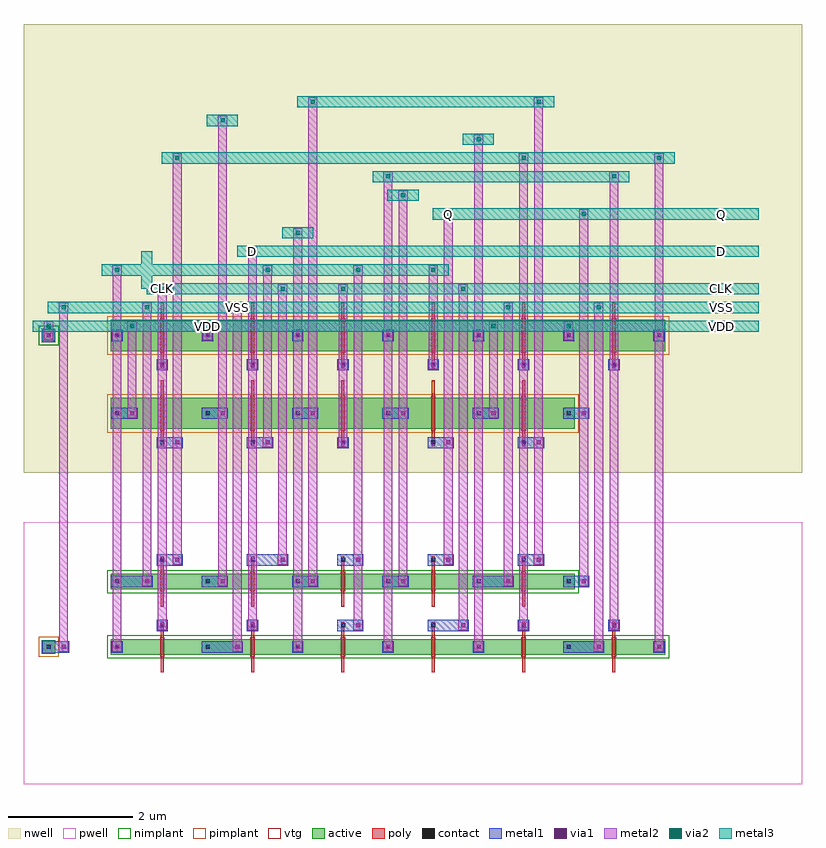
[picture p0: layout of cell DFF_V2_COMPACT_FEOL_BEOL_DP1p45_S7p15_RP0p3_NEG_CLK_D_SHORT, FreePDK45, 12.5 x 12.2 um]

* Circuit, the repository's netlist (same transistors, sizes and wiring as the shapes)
* cell DFF_V2_COMPACT_FEOL_BEOL_DP1p45_S7p15_RP0p3_NEG_CLK_D_SHORT
* pin CLK
* pin D
* pin Q
* pin VDD
* pin VSS
.SUBCKT DFF_V2_COMPACT_FEOL_BEOL_DP1p45_S7p15_RP0p3_NEG_CLK_D_SHORT 1 3 10 11 12
* net 1 CLK
* net 3 D
* net 10 Q
* net 11 VDD
* net 12 VSS
* device instance $1 r0 *1 1.925,7 PMOS_VTG
M$1 11 1 1 11 PMOS_VTG L=0.05U W=0.5U AS=0.4P AD=0.35P PS=2.6U PD=1.9U
* device instance $2 r0 *1 3.375,7 PMOS_VTG
M$2 4 3 11 11 PMOS_VTG L=0.05U W=0.5U AS=0.35P AD=0.35P PS=1.9U PD=1.9U
* device instance $3 r0 *1 4.825,7 PMOS_VTG
M$3 5 1 4 11 PMOS_VTG L=0.05U W=0.5U AS=0.35P AD=0.35P PS=1.9U PD=1.9U
* device instance $4 r0 *1 6.275,7 PMOS_VTG
M$4 2 1 5 11 PMOS_VTG L=0.05U W=0.5U AS=0.35P AD=0.35P PS=1.9U PD=1.9U
* device instance $5 r0 *1 7.725,7 PMOS_VTG
M$5 11 9 2 11 PMOS_VTG L=0.05U W=0.5U AS=0.35P AD=0.35P PS=1.9U PD=1.9U
* device instance $6 r0 *1 9.175,7 PMOS_VTG
M$6 9 5 11 11 PMOS_VTG L=0.05U W=0.5U AS=0.35P AD=0.4P PS=1.9U PD=2.6U
* device instance $7 r0 *1 1.925,5.75 PMOS_VTG
M$7 6 9 11 11 PMOS_VTG L=0.05U W=0.5U AS=0.4P AD=0.35P PS=2.6U PD=1.9U
* device instance $8 r0 *1 3.375,5.75 PMOS_VTG
M$8 7 1 6 11 PMOS_VTG L=0.05U W=0.5U AS=0.35P AD=0.35P PS=1.9U PD=1.9U
* device instance $9 r0 *1 4.825,5.75 PMOS_VTG
M$9 8 1 7 11 PMOS_VTG L=0.05U W=0.5U AS=0.35P AD=0.35P PS=1.9U PD=1.9U
* device instance $10 r0 *1 6.275,5.75 PMOS_VTG
M$10 11 10 8 11 PMOS_VTG L=0.05U W=0.5U AS=0.35P AD=0.35P PS=1.9U PD=1.9U
* device instance $11 r0 *1 7.725,5.75 PMOS_VTG
M$11 10 7 11 11 PMOS_VTG L=0.05U W=0.5U AS=0.35P AD=0.4P PS=1.9U PD=2.6U
* device instance $12 r0 *1 1.925,2 NMOS_VTG
M$12 12 1 1 12 NMOS_VTG L=0.05U W=0.25U AS=0.2P AD=0.175P PS=2.1U PD=1.65U
* device instance $13 r0 *1 3.375,2 NMOS_VTG
M$13 4 3 12 12 NMOS_VTG L=0.05U W=0.25U AS=0.175P AD=0.175P PS=1.65U PD=1.65U
* device instance $14 r0 *1 4.825,2 NMOS_VTG
M$14 5 1 4 12 NMOS_VTG L=0.05U W=0.25U AS=0.175P AD=0.175P PS=1.65U PD=1.65U
* device instance $15 r0 *1 6.275,2 NMOS_VTG
M$15 2 1 5 12 NMOS_VTG L=0.05U W=0.25U AS=0.175P AD=0.175P PS=1.65U PD=1.65U
* device instance $16 r0 *1 7.725,2 NMOS_VTG
M$16 12 9 2 12 NMOS_VTG L=0.05U W=0.25U AS=0.175P AD=0.175P PS=1.65U PD=1.65U
* device instance $17 r0 *1 9.175,2 NMOS_VTG
M$17 9 5 12 12 NMOS_VTG L=0.05U W=0.25U AS=0.175P AD=0.2P PS=1.65U PD=2.1U
* device instance $18 r0 *1 1.925,3.05 NMOS_VTG
M$18 6 9 12 12 NMOS_VTG L=0.05U W=0.25U AS=0.2P AD=0.175P PS=2.1U PD=1.65U
* device instance $19 r0 *1 3.375,3.05 NMOS_VTG
M$19 7 1 6 12 NMOS_VTG L=0.05U W=0.25U AS=0.175P AD=0.175P PS=1.65U PD=1.65U
* device instance $20 r0 *1 4.825,3.05 NMOS_VTG
M$20 8 1 7 12 NMOS_VTG L=0.05U W=0.25U AS=0.175P AD=0.175P PS=1.65U PD=1.65U
* device instance $21 r0 *1 6.275,3.05 NMOS_VTG
M$21 12 10 8 12 NMOS_VTG L=0.05U W=0.25U AS=0.175P AD=0.175P PS=1.65U PD=1.65U
* device instance $22 r0 *1 7.725,3.05 NMOS_VTG
M$22 10 7 12 12 NMOS_VTG L=0.05U W=0.25U AS=0.175P AD=0.2P PS=1.65U PD=2.1U
.ENDS DFF_V2_COMPACT_FEOL_BEOL_DP1p45_S7p15_RP0p3_NEG_CLK_D_SHORT

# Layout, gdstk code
import gdstk
lib = gdstk.Library(unit=1e-6, precision=5e-10)
def R(c, l, rs):  # rectangles x0, y0, x1, y1
    for r in rs: c.add(gdstk.rectangle(r[:2], r[2:], *l))
def A(c, l, x, y, w, h, nx, ny, dx, dy):  # array of equal rectangles
    R(c, l, [(x+i*dx, y+j*dy, x+i*dx+w, y+j*dy+h) for i in range(nx) for j in range(ny)])
active = (1, 0)
pwell = (2, 0)
nwell = (3, 0)
nimplant = (4, 0)
pimplant = (5, 0)
vtg = (6, 0)
poly = (9, 0)
contact = (10, 0)
metal1 = (11, 0)
via1 = (12, 0)
metal2 = (13, 0)
via2 = (14, 0)
metal3 = (15, 0)

dff_v2_compact_feol_beol = lib.new_cell('DFF_V2_COMPACT_FEOL_BEOL_DP1p45_S7p15_RP0p3_NEG_CLK_D_SHORT')
R(dff_v2_compact_feol_beol, active, [(1.1,1.875,10,2.125), (-0.01,1.89,0.21,2.11), (1.1,2.925,8.55,3.175), (1.1,5.5,8.55,6), (1.1,6.75,10,7.25), (-0.01,6.89,0.21,7.11)])
R(dff_v2_compact_feol_beol, pwell, [(-0.3,-0.2,12.2,4)])
R(dff_v2_compact_feol_beol, nwell, [(-0.3,4.8,12.2,12)])
R(dff_v2_compact_feol_beol, nimplant, [(1.04,1.815,10.06,2.185), (1.04,2.865,8.61,3.235), (-0.06,6.84,0.26,7.16)])
R(dff_v2_compact_feol_beol, pimplant, [(-0.06,1.84,0.26,2.16), (1.04,5.44,8.61,6.06), (1.04,6.69,10.06,7.31)])
A(dff_v2_compact_feol_beol, vtg, 1.89, 1.845, 0.07, 0.31, 6, 1, 1.45, 0)
A(dff_v2_compact_feol_beol, vtg, 1.89, 2.895, 0.07, 0.31, 5, 1, 1.45, 0)
A(dff_v2_compact_feol_beol, vtg, 1.89, 5.47, 0.07, 0.56, 5, 1, 1.45, 0)
A(dff_v2_compact_feol_beol, vtg, 1.89, 6.72, 0.07, 0.56, 6, 1, 1.45, 0)
A(dff_v2_compact_feol_beol, poly, 1.9, 1.595, 0.05, 0.81, 6, 1, 1.45, 0)
A(dff_v2_compact_feol_beol, poly, 1.9, 2.645, 0.05, 0.81, 5, 1, 1.45, 0)
A(dff_v2_compact_feol_beol, poly, 1.9, 5.22, 0.05, 1.06, 5, 1, 1.45, 0)
A(dff_v2_compact_feol_beol, poly, 1.9, 6.47, 0.05, 1.06, 6, 1, 1.45, 0)
A(dff_v2_compact_feol_beol, contact, 1.17, 1.97, 0.065, 0.065, 7, 2, 1.45, 5)
A(dff_v2_compact_feol_beol, contact, 1.895, 2.315, 0.065, 0.065, 6, 2, 1.45, 4.185)
A(dff_v2_compact_feol_beol, contact, 1.17, 3.02, 0.065, 0.065, 6, 2, 1.45, 2.7)
A(dff_v2_compact_feol_beol, contact, 1.895, 3.365, 0.065, 0.065, 5, 2, 1.45, 1.885)
R(dff_v2_compact_feol_beol, contact, [(0.07,1.97,0.135,2.035), (0.07,6.97,0.135,7.035)])
A(dff_v2_compact_feol_beol, metal1, 2.65, 2.96, 0.24, 0.18, 3, 1, 1.45, 0)
A(dff_v2_compact_feol_beol, metal1, 4.825, 3.305, 0.24, 0.18, 3, 1, 1.45, 0)
A(dff_v2_compact_feol_beol, metal1, 1.2, 5.66, 0.24, 0.18, 6, 1, 1.45, 0)
R(dff_v2_compact_feol_beol, metal1, [(0,1.9,0.2,2.1), (0.1,1.91,0.34,2.09), (0.25,1.91,0.43,2.09), (1.11,1.91,1.29,2.09), (1.11,1.91,1.29,2.09), (2.56,1.91,2.74,2.09), (2.65,1.91,3.13,2.09), (3.04,1.91,3.22,2.09), (4.01,1.91,4.19,2.09), (4.01,1.91,4.19,2.09), (5.46,1.91,5.64,2.09), (5.46,1.91,5.64,2.09), (6.91,1.91,7.09,2.09), (6.91,1.91,7.09,2.09), (8.36,1.91,8.54,2.09), (8.45,1.91,8.93,2.09), (8.84,1.91,9.02,2.09), (9.81,1.91,9.99,2.09), (9.81,1.91,9.99,2.09), (1.835,2.255,2.015,2.435), (1.835,2.255,2.015,2.435), (3.285,2.255,3.465,2.435), (3.285,2.255,3.465,2.435), (4.735,2.255,4.915,2.435), (4.825,2.255,5.065,2.435), (4.975,2.255,5.155,2.435), (6.185,2.255,6.365,2.435), (6.275,2.255,6.755,2.435), (6.665,2.255,6.845,2.435), (7.635,2.255,7.815,2.435), (7.635,2.255,7.815,2.435), (9.085,2.255,9.265,2.435), (9.085,2.255,9.265,2.435), (1.11,2.96,1.29,3.14), (1.2,2.96,1.68,3.14), (1.59,2.96,1.77,3.14), (2.56,2.96,2.74,3.14), (2.8,2.96,2.98,3.14), (4.01,2.96,4.19,3.14), (4.25,2.96,4.43,3.14), (5.46,2.96,5.64,3.14), (5.7,2.96,5.88,3.14), (6.91,2.96,7.09,3.14), (7,2.96,7.48,3.14), (7.39,2.96,7.57,3.14), (8.36,2.96,8.54,3.14), (8.45,2.96,8.69,3.14), (8.6,2.96,8.78,3.14), (1.835,3.305,2.015,3.485), (1.925,3.305,2.165,3.485), (2.075,3.305,2.255,3.485), (3.285,3.305,3.465,3.485), (3.375,3.305,3.855,3.485), (3.765,3.305,3.945,3.485), (4.735,3.305,4.915,3.485), (4.975,3.305,5.155,3.485), (6.185,3.305,6.365,3.485), (6.425,3.305,6.605,3.485), (7.635,3.305,7.815,3.485), (7.875,3.305,8.055,3.485), (1.835,5.19,2.015,5.37), (1.925,5.19,2.165,5.37), (2.075,5.19,2.255,5.37), (3.285,5.19,3.465,5.37), (3.375,5.19,3.615,5.37), (3.525,5.19,3.705,5.37), (4.735,5.19,4.915,5.37), (4.735,5.19,4.915,5.37), (6.185,5.19,6.365,5.37), (6.275,5.19,6.515,5.37), (6.425,5.19,6.605,5.37), (7.635,5.19,7.815,5.37), (7.725,5.19,7.965,5.37), (7.875,5.19,8.055,5.37), (1.11,5.66,1.29,5.84), (1.35,5.66,1.53,5.84), (2.56,5.66,2.74,5.84), (2.8,5.66,2.98,5.84), (4.01,5.66,4.19,5.84), (4.25,5.66,4.43,5.84), (5.46,5.66,5.64,5.84), (5.7,5.66,5.88,5.84), (6.91,5.66,7.09,5.84), (7.15,5.66,7.33,5.84), (8.36,5.66,8.54,5.84), (8.6,5.66,8.78,5.84), (1.835,6.44,2.015,6.62), (1.835,6.44,2.015,6.62), (3.285,6.44,3.465,6.62), (3.285,6.44,3.465,6.62), (4.735,6.44,4.915,6.62), (4.735,6.44,4.915,6.62), (6.185,6.44,6.365,6.62), (6.185,6.44,6.365,6.62), (7.635,6.44,7.815,6.62), (7.635,6.44,7.815,6.62), (9.085,6.44,9.265,6.62), (9.085,6.44,9.265,6.62), (0,6.9,0.2,7.1), (0.01,6.91,0.19,7.09), (1.11,6.91,1.29,7.09), (1.11,6.91,1.29,7.09), (2.56,6.91,2.74,7.09), (2.56,6.91,2.74,7.09), (4.01,6.91,4.19,7.09), (4.01,6.91,4.19,7.09), (5.46,6.91,5.64,7.09), (5.46,6.91,5.64,7.09), (6.91,6.91,7.09,7.09), (6.91,6.91,7.09,7.09), (8.36,6.91,8.54,7.09), (8.36,6.91,8.54,7.09), (9.81,6.91,9.99,7.09), (9.81,6.91,9.99,7.09)])
A(dff_v2_compact_feol_beol, via1, 4.07, 1.97, 0.065, 0.065, 3, 1, 1.45, 0)
A(dff_v2_compact_feol_beol, via1, 3.345, 2.315, 0.065, 0.065, 3, 1, 1.69, 0)
A(dff_v2_compact_feol_beol, via1, 2.86, 3.02, 0.065, 0.065, 3, 1, 1.45, 0)
A(dff_v2_compact_feol_beol, via1, 5.035, 3.365, 0.065, 0.065, 3, 1, 1.45, 0)
A(dff_v2_compact_feol_beol, via1, 1.41, 5.72, 0.065, 0.065, 6, 1, 1.45, 0)
A(dff_v2_compact_feol_beol, via1, 1.895, 6.5, 0.065, 0.065, 6, 1, 1.45, 0)
A(dff_v2_compact_feol_beol, via1, 1.17, 6.97, 0.065, 0.065, 7, 1, 1.45, 0)
R(dff_v2_compact_feol_beol, via1, [(0.31,1.97,0.375,2.035), (1.17,1.97,1.235,2.035), (3.1,1.97,3.165,2.035), (8.9,1.97,8.965,2.035), (9.87,1.97,9.935,2.035), (1.895,2.315,1.96,2.38), (7.695,2.315,7.76,2.38), (9.145,2.315,9.21,2.38), (1.65,3.02,1.715,3.085), (7.45,3.02,7.515,3.085), (8.66,3.02,8.725,3.085), (2.135,3.365,2.2,3.43), (3.825,3.365,3.89,3.43), (2.135,5.25,2.2,5.315), (3.585,5.25,3.65,5.315), (4.795,5.25,4.86,5.315), (6.485,5.25,6.55,5.315), (7.935,5.25,8,5.315), (0.07,6.97,0.135,7.035)])
A(dff_v2_compact_feol_beol, metal2, 4.025, 1.925, 0.15, 0.15, 3, 1, 1.45, 0)
A(dff_v2_compact_feol_beol, metal2, 3.3, 2.27, 0.15, 0.15, 3, 1, 1.69, 0)
A(dff_v2_compact_feol_beol, metal2, 2.815, 2.975, 0.15, 0.15, 3, 1, 1.45, 0)
A(dff_v2_compact_feol_beol, metal2, 4.99, 3.32, 0.15, 0.15, 3, 1, 1.45, 0)
A(dff_v2_compact_feol_beol, metal2, 1.365, 5.675, 0.15, 0.15, 6, 1, 1.45, 0)
A(dff_v2_compact_feol_beol, metal2, 1.85, 6.455, 0.15, 0.15, 6, 1, 1.45, 0)
A(dff_v2_compact_feol_beol, metal2, 1.125, 6.925, 0.15, 0.15, 7, 1, 1.45, 0)
R(dff_v2_compact_feol_beol, metal2, [(0.265,1.925,0.415,2.075), (1.125,1.925,1.275,2.075), (3.055,1.925,3.205,2.075), (8.855,1.925,9.005,2.075), (9.825,1.925,9.975,2.075), (0.27,2,0.41,7.45), (1.13,2,1.27,8.05), (3.06,2,3.2,7.45), (4.03,2,4.17,8.65), (5.48,2,5.62,9.55), (6.93,2,7.07,10.15), (8.86,2,9,7.45), (9.83,2,9.97,9.85), (1.85,2.27,2,2.42), (7.65,2.27,7.8,2.42), (9.1,2.27,9.25,2.42), (1.855,2.345,1.995,7.75), (3.305,2.345,3.445,8.35), (4.995,2.345,5.135,8.05), (6.685,2.345,6.825,7.75), (7.655,2.345,7.795,9.85), (9.105,2.345,9.245,9.55), (1.605,2.975,1.755,3.125), (7.405,2.975,7.555,3.125), (8.615,2.975,8.765,3.125), (1.61,3.05,1.75,7.45), (2.82,3.05,2.96,10.45), (4.27,3.05,4.41,10.75), (5.72,3.05,5.86,9.25), (7.41,3.05,7.55,7.45), (8.62,3.05,8.76,8.95), (2.09,3.32,2.24,3.47), (3.78,3.32,3.93,3.47), (2.095,3.395,2.235,9.85), (3.785,3.395,3.925,7.75), (4.995,3.395,5.135,8.05), (6.445,3.395,6.585,8.95), (7.895,3.395,8.035,10.75), (2.09,5.205,2.24,5.355), (3.54,5.205,3.69,5.355), (4.75,5.205,4.9,5.355), (6.44,5.205,6.59,5.355), (7.89,5.205,8.04,5.355), (2.095,5.28,2.235,9.85), (3.545,5.28,3.685,8.05), (4.755,5.28,4.895,7.75), (6.445,5.28,6.585,8.95), (7.895,5.28,8.035,10.75), (1.37,5.75,1.51,7.15), (2.82,5.75,2.96,10.45), (4.27,5.75,4.41,10.75), (5.72,5.75,5.86,9.25), (7.17,5.75,7.31,7.15), (8.62,5.75,8.76,8.95), (1.855,6.53,1.995,7.75), (3.305,6.53,3.445,8.35), (4.755,6.53,4.895,7.75), (6.205,6.53,6.345,8.05), (7.655,6.53,7.795,9.85), (9.105,6.53,9.245,9.55), (0.025,6.925,0.175,7.075), (0.03,7,0.17,7.15), (1.13,7,1.27,8.05), (2.58,7,2.72,7.15), (4.03,7,4.17,8.65), (5.48,7,5.62,9.55), (6.93,7,7.07,10.15), (8.38,7,8.52,7.15), (9.83,7,9.97,9.85), (0.025,7.075,0.175,7.225), (1.365,7.075,1.515,7.225), (2.575,7.075,2.725,7.225), (7.165,7.075,7.315,7.225), (8.375,7.075,8.525,7.225), (0.265,7.375,0.415,7.525), (1.605,7.375,1.755,7.525), (3.055,7.375,3.205,7.525), (7.405,7.375,7.555,7.525), (8.855,7.375,9.005,7.525), (1.85,7.675,2,7.825), (1.85,7.675,2,7.825), (3.78,7.675,3.93,7.825), (4.75,7.675,4.9,7.825), (4.75,7.675,4.9,7.825), (6.68,7.675,6.83,7.825), (1.125,7.975,1.275,8.125), (1.125,7.975,1.275,8.125), (3.54,7.975,3.69,8.125), (4.99,7.975,5.14,8.125), (4.99,7.975,5.14,8.125), (6.2,7.975,6.35,8.125), (3.3,8.275,3.45,8.425), (3.3,8.275,3.45,8.425), (4.025,8.575,4.175,8.725), (4.025,8.575,4.175,8.725), (6.44,8.875,6.59,9.025), (6.44,8.875,6.59,9.025), (8.615,8.875,8.765,9.025), (8.615,8.875,8.765,9.025), (5.715,9.175,5.865,9.325), (5.715,9.175,5.865,9.325), (5.475,9.475,5.625,9.625), (5.475,9.475,5.625,9.625), (9.1,9.475,9.25,9.625), (9.1,9.475,9.25,9.625), (2.09,9.775,2.24,9.925), (2.09,9.775,2.24,9.925), (7.65,9.775,7.8,9.925), (7.65,9.775,7.8,9.925), (9.825,9.775,9.975,9.925), (9.825,9.775,9.975,9.925), (6.925,10.075,7.075,10.225), (6.925,10.075,7.075,10.225), (2.815,10.375,2.965,10.525), (2.815,10.375,2.965,10.525), (4.265,10.675,4.415,10.825), (4.265,10.675,4.415,10.825), (7.89,10.675,8.04,10.825), (7.89,10.675,8.04,10.825)])
R(dff_v2_compact_feol_beol, via2, [(0.07,7.12,0.135,7.185), (1.41,7.12,1.475,7.185), (2.62,7.12,2.685,7.185), (7.21,7.12,7.275,7.185), (8.42,7.12,8.485,7.185), (0.31,7.42,0.375,7.485), (1.65,7.42,1.715,7.485), (3.1,7.42,3.165,7.485), (7.45,7.42,7.515,7.485), (8.9,7.42,8.965,7.485), (1.895,7.72,1.96,7.785), (1.895,7.72,1.96,7.785), (3.825,7.72,3.89,7.785), (4.795,7.72,4.86,7.785), (4.795,7.72,4.86,7.785), (6.725,7.72,6.79,7.785), (1.17,8.02,1.235,8.085), (1.17,8.02,1.235,8.085), (3.585,8.02,3.65,8.085), (5.035,8.02,5.1,8.085), (5.035,8.02,5.1,8.085), (6.245,8.02,6.31,8.085), (3.345,8.32,3.41,8.385), (3.345,8.32,3.41,8.385), (4.07,8.62,4.135,8.685), (4.07,8.62,4.135,8.685), (6.485,8.92,6.55,8.985), (6.485,8.92,6.55,8.985), (8.66,8.92,8.725,8.985), (8.66,8.92,8.725,8.985), (5.76,9.22,5.825,9.285), (5.76,9.22,5.825,9.285), (5.52,9.52,5.585,9.585), (5.52,9.52,5.585,9.585), (9.145,9.52,9.21,9.585), (9.145,9.52,9.21,9.585), (2.135,9.82,2.2,9.885), (2.135,9.82,2.2,9.885), (7.695,9.82,7.76,9.885), (7.695,9.82,7.76,9.885), (9.87,9.82,9.935,9.885), (9.87,9.82,9.935,9.885), (6.97,10.12,7.035,10.185), (6.97,10.12,7.035,10.185), (2.86,10.42,2.925,10.485), (2.86,10.42,2.925,10.485), (4.31,10.72,4.375,10.785), (4.31,10.72,4.375,10.785), (7.935,10.72,8,10.785), (7.935,10.72,8,10.785)])
R(dff_v2_compact_feol_beol, metal3, [(-0.15,7.06,8.7,7.24), (8.7,7.06,11.5,7.24), (0.025,7.075,0.175,7.225), (1.365,7.075,1.515,7.225), (2.575,7.075,2.725,7.225), (7.165,7.075,7.315,7.225), (8.375,7.075,8.525,7.225), (0.09,7.36,9.18,7.54), (9.18,7.36,11.5,7.54), (0.265,7.375,0.415,7.525), (1.605,7.375,1.755,7.525), (3.055,7.375,3.205,7.525), (7.405,7.375,7.555,7.525), (8.855,7.375,9.005,7.525), (1.675,7.66,7.005,7.84), (7.005,7.66,11.5,7.84), (1.85,7.675,2,7.825), (1.85,7.675,2,7.825), (3.78,7.675,3.93,7.825), (4.75,7.675,4.9,7.825), (4.75,7.675,4.9,7.825), (6.68,7.675,6.83,7.825), (1.585,7.75,1.765,8.35), (0.95,7.96,6.525,8.14), (1.125,7.975,1.275,8.125), (1.125,7.975,1.275,8.125), (3.54,7.975,3.69,8.125), (4.99,7.975,5.14,8.125), (4.99,7.975,5.14,8.125), (6.2,7.975,6.35,8.125), (3.125,8.26,3.625,8.44), (3.625,8.26,11.5,8.44), (3.3,8.275,3.45,8.425), (3.3,8.275,3.45,8.425), (3.85,8.56,4.35,8.74), (4.025,8.575,4.175,8.725), (4.025,8.575,4.175,8.725), (6.265,8.86,8.94,9.04), (8.94,8.86,11.5,9.04), (6.44,8.875,6.59,9.025), (6.44,8.875,6.59,9.025), (8.615,8.875,8.765,9.025), (8.615,8.875,8.765,9.025), (5.54,9.16,6.04,9.34), (5.715,9.175,5.865,9.325), (5.715,9.175,5.865,9.325), (5.3,9.46,9.425,9.64), (5.475,9.475,5.625,9.625), (5.475,9.475,5.625,9.625), (9.1,9.475,9.25,9.625), (9.1,9.475,9.25,9.625), (1.915,9.76,10.15,9.94), (2.09,9.775,2.24,9.925), (2.09,9.775,2.24,9.925), (7.65,9.775,7.8,9.925), (7.65,9.775,7.8,9.925), (9.825,9.775,9.975,9.925), (9.825,9.775,9.975,9.925), (6.75,10.06,7.25,10.24), (6.925,10.075,7.075,10.225), (6.925,10.075,7.075,10.225), (2.64,10.36,3.14,10.54), (2.815,10.375,2.965,10.525), (2.815,10.375,2.965,10.525), (4.09,10.66,8.215,10.84), (4.265,10.675,4.415,10.825), (4.265,10.675,4.415,10.825), (7.89,10.675,8.04,10.825), (7.89,10.675,8.04,10.825)])
dff_v2_compact_feol_beol.add(gdstk.Label('VDD', (10.9,7.15), layer=15, texttype=0))
dff_v2_compact_feol_beol.add(gdstk.Label('VDD', (10.9,7.15), layer=15, texttype=1))
dff_v2_compact_feol_beol.add(gdstk.Label('VDD', (10.9,7.15), layer=15, texttype=2))
dff_v2_compact_feol_beol.add(gdstk.Label('VDD', (2.65,7.15), layer=13, texttype=0))
dff_v2_compact_feol_beol.add(gdstk.Label('VDD', (2.65,7.15), layer=13, texttype=1))
dff_v2_compact_feol_beol.add(gdstk.Label('VDD', (2.65,7.15), layer=13, texttype=2))
dff_v2_compact_feol_beol.add(gdstk.Label('VSS', (10.9,7.45), layer=15, texttype=0))
dff_v2_compact_feol_beol.add(gdstk.Label('VSS', (10.9,7.45), layer=15, texttype=1))
dff_v2_compact_feol_beol.add(gdstk.Label('VSS', (10.9,7.45), layer=15, texttype=2))
dff_v2_compact_feol_beol.add(gdstk.Label('VSS', (3.13,7.45), layer=13, texttype=0))
dff_v2_compact_feol_beol.add(gdstk.Label('VSS', (3.13,7.45), layer=13, texttype=1))
dff_v2_compact_feol_beol.add(gdstk.Label('VSS', (3.13,7.45), layer=13, texttype=2))
dff_v2_compact_feol_beol.add(gdstk.Label('CLK', (10.9,7.75), layer=15, texttype=0))
dff_v2_compact_feol_beol.add(gdstk.Label('CLK', (10.9,7.75), layer=15, texttype=1))
dff_v2_compact_feol_beol.add(gdstk.Label('CLK', (10.9,7.75), layer=15, texttype=2))
dff_v2_compact_feol_beol.add(gdstk.Label('CLK', (1.925,7.75), layer=13, texttype=0))
dff_v2_compact_feol_beol.add(gdstk.Label('CLK', (1.925,7.75), layer=13, texttype=1))
dff_v2_compact_feol_beol.add(gdstk.Label('CLK', (1.925,7.75), layer=13, texttype=2))
dff_v2_compact_feol_beol.add(gdstk.Label('D', (10.9,8.35), layer=15, texttype=0))
dff_v2_compact_feol_beol.add(gdstk.Label('D', (10.9,8.35), layer=15, texttype=1))
dff_v2_compact_feol_beol.add(gdstk.Label('D', (10.9,8.35), layer=15, texttype=2))
dff_v2_compact_feol_beol.add(gdstk.Label('D', (3.375,8.35), layer=13, texttype=0))
dff_v2_compact_feol_beol.add(gdstk.Label('D', (3.375,8.35), layer=13, texttype=1))
dff_v2_compact_feol_beol.add(gdstk.Label('D', (3.375,8.35), layer=13, texttype=2))
dff_v2_compact_feol_beol.add(gdstk.Label('Q', (10.9,8.95), layer=15, texttype=0))
dff_v2_compact_feol_beol.add(gdstk.Label('Q', (10.9,8.95), layer=15, texttype=1))
dff_v2_compact_feol_beol.add(gdstk.Label('Q', (10.9,8.95), layer=15, texttype=2))
dff_v2_compact_feol_beol.add(gdstk.Label('Q', (6.515,8.95), layer=13, texttype=0))
dff_v2_compact_feol_beol.add(gdstk.Label('Q', (6.515,8.95), layer=13, texttype=1))
dff_v2_compact_feol_beol.add(gdstk.Label('Q', (6.515,8.95), layer=13, texttype=2))

lib.write_gds('DFF_V2_COMPACT_FEOL_BEOL_DP1p45_S7p15_RP0p3_NEG_CLK_D_SHORT.gds')
